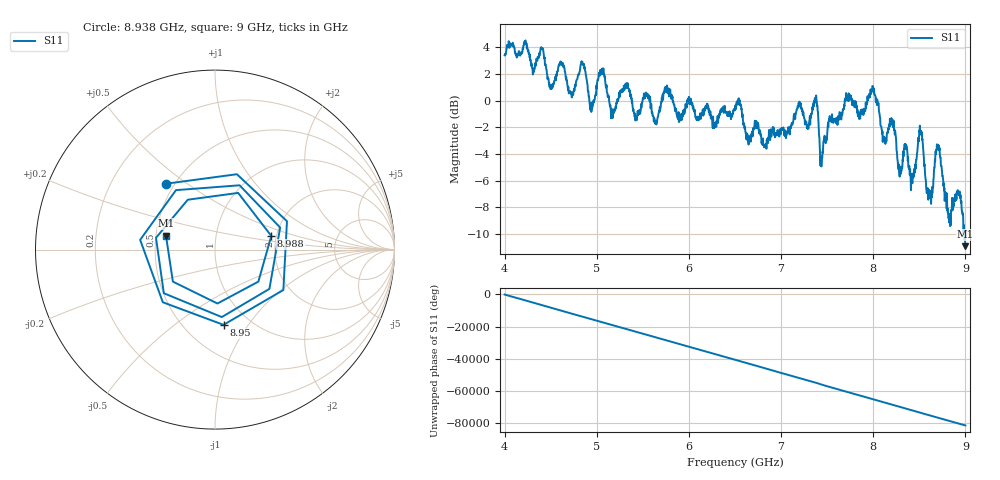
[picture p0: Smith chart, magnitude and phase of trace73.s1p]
! Created with skrf 1.8.0 (http://scikit-rf.org).
# Hz S RI R 50.0
!freq ReS11 ImS11
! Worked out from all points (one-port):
!   1601 points, 4 GHz to 9 GHz, reference 50 ohm
!   lowest |S11| = -10.9 dB at 9 GHz (marker M1), VSWR 1.79, Z = 28.2 + j4.82 ohm
!   |S11| at or under -10 dB: 8.988849 GHz to end of sweep
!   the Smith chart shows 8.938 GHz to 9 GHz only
!   S11 on the Smith chart (normalised r, x): 8.938 GHz: 0.45, +0.42; 8.95 GHz: 0.76, -0.77; 8.988 GHz: 1.88, +0.32; 9 GHz: 0.56, +0.10
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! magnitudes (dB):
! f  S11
! 4 GHz  3.4
! 4.506 GHz  0.9
! 4.625 GHz  2.7
! 4.722 GHz  0.6
! 4.85 GHz  2.7
! 4.944 GHz  -0.5
! 5.047 GHz  2.1
! 5.166 GHz  -0.7
! 5.25 GHz  0.3
! 5.875 GHz  -1.3
! 6.5 GHz  -0.6
! 6.816 GHz  -3.5
! 7.125 GHz  -1.7
! 7.372 GHz  -0.1
! 7.444 GHz  -4.3
! 7.75 GHz  0.3
! 7.997 GHz  1.1
! 8.119 GHz  -3.0
! 8.375 GHz  -4.5
! 8.428 GHz  -5.7
! 8.512 GHz  -2.2
! 8.603 GHz  -7.1
! 8.7 GHz  -3.4
! 8.816 GHz  -8.8
! 8.938 GHz  -6.8
! 8.95 GHz  -7.5
! 8.988 GHz  -9.8
! 9 GHz  -10.9
